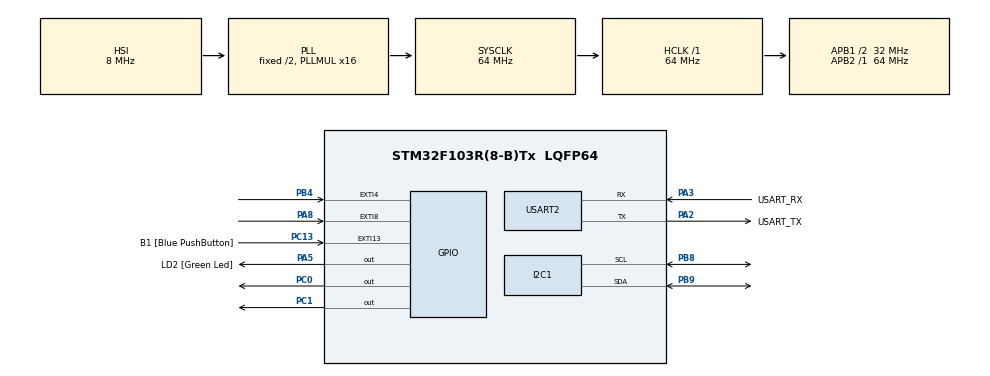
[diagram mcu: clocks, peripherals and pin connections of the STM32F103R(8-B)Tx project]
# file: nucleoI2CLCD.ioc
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Mcu.Family=STM32F1
Mcu.Name=STM32F103R(8-B)Tx
Mcu.Package=LQFP64
NVIC.EXTI15_10_IRQn=true\:0\:0\:false\:false\:true\:true\:true\:true
NVIC.EXTI4_IRQn=true\:0\:0\:false\:false\:true\:true\:true\:true
NVIC.EXTI9_5_IRQn=true\:0\:0\:false\:false\:true\:true\:true\:true
NVIC.PriorityGroup=NVIC_PRIORITYGROUP_4
NVIC.TIM2_IRQn=true\:0\:0\:false\:false\:true\:true\:true\:true
PA13.GPIO_Label=TMS
PA13.Mode=Serial_Wire
PA13.Signal=SYS_JTMS-SWDIO
PA14.GPIO_Label=TCK
PA14.Mode=Serial_Wire
PA14.Signal=SYS_JTCK-SWCLK
PA2.GPIO_Label=USART_TX
PA2.GPIO_Mode=GPIO_MODE_AF_PP
PA2.GPIO_PuPd=GPIO_NOPULL
PA2.GPIO_Speed=GPIO_SPEED_FREQ_LOW
PA2.Mode=Asynchronous
PA2.Signal=USART2_TX
PA3.GPIO_Label=USART_RX
PA3.GPIO_Mode=GPIO_MODE_AF_PP
PA3.GPIO_PuPd=GPIO_NOPULL
PA3.GPIO_Speed=GPIO_SPEED_FREQ_LOW
PA3.Mode=Asynchronous
PA3.Signal=USART2_RX
PA5.GPIO_Label=LD2 [Green Led]
PA5.GPIO_ModeDefaultOutputPP=GPIO_MODE_OUTPUT_PP
PA5.GPIO_PuPd=GPIO_NOPULL
PA5.GPIO_Speed=GPIO_SPEED_FREQ_LOW
PA5.Signal=GPIO_Output
PA8.Signal=GPXTI8
PB3.GPIO_Label=SWO
PB3.Signal=SYS_JTDO-TRACESWO
PB4.Signal=GPXTI4
PB8.Mode=I2C
PB8.Signal=I2C1_SCL
PB9.Mode=I2C
PB9.Signal=I2C1_SDA
PC0.Signal=GPIO_Output
PC1.Signal=GPIO_Output
PC13-TAMPER-RTC.GPIO_Label=B1 [Blue PushButton]
PC13-TAMPER-RTC.GPIO_PuPd=GPIO_NOPULL
PC13-TAMPER-RTC.Signal=GPXTI13
PC14-OSC32_IN.Mode=LSE-External-Oscillator
PC14-OSC32_IN.Signal=RCC_OSC32_IN
PC15-OSC32_OUT.Mode=LSE-External-Oscillator
PC15-OSC32_OUT.Signal=RCC_OSC32_OUT
PD0-OSC_IN.Mode=HSE-External-Clock-Source
PD0-OSC_IN.Signal=RCC_OSC_IN
PD1-OSC_OUT.Mode=HSE-External-Clock-Source
PD1-OSC_OUT.Signal=RCC_OSC_OUT
ProjectManager.HeapSize=0x200
ProjectManager.StackSize=0x400
ProjectManager.TargetToolchain=STM32CubeIDE
RCC.AHBFreq_Value=64000000
RCC.APB1CLKDivider=RCC_HCLK_DIV2
RCC.APB1Freq_Value=32000000
RCC.APB1TimFreq_Value=64000000
RCC.APB2Freq_Value=64000000
RCC.APB2TimFreq_Value=64000000
RCC.HCLKFreq_Value=64000000
RCC.PLLMUL=RCC_PLL_MUL16
RCC.RTCClockSelection=RCC_RTCCLKSOURCE_LSE
RCC.SYSCLKFreq_VALUE=64000000
RCC.SYSCLKSource=RCC_SYSCLKSOURCE_PLLCLK
RCC.USBFreq_Value=64000000
TIM2.Period=9999
TIM2.Prescaler=639
USART2.VirtualMode=VM_ASYNC
VP_TIM2_VS_ClockSourceINT.Mode=Internal
board=NUCLEO-F103RB

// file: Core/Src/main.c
/* USER CODE BEGIN Header */
/**
  ******************************************************************************
  * @file           : main.c
  * @brief          : Main program body
  ******************************************************************************
  * @attention
  *
  * Copyright (c) 2022 STMicroelectronics.
  * All rights reserved.
  *
  * This software is licensed under terms that can be found in the LICENSE file
  * in the root directory of this software component.
  * If no LICENSE file comes with this software, it is provided AS-IS.
  *
  ******************************************************************************
  */
/* USER CODE END Header */
#include "main.h"

/* USER CODE BEGIN Includes */
#include "i2c-lcd.h"
/* USER CODE END Includes */

 I2C_HandleTypeDef hi2c1;

TIM_HandleTypeDef htim2;

UART_HandleTypeDef huart2;

/* USER CODE BEGIN PV */
uint16_t cnt=56220;
int sec;
int min;
int hour;
char time[16];
int cntt = 0;
/* USER CODE END PV */

void SystemClock_Config(void);
static void MX_GPIO_Init(void);
static void MX_USART2_UART_Init(void);
static void MX_I2C1_Init(void);
static void MX_TIM2_Init(void);

/* USER CODE BEGIN 0 */
void HAL_TIM_PeriodElapsedCallback(TIM_HandleTypeDef *htim)
{
	cntt ++;
	if(cntt == 10) {
		cnt++;
		cntt = 0;
	}

}

void HAL_GPIO_EXTI_Callback(uint16_t GPIO_Pin)
{
	if (GPIO_Pin == GPIO_PIN_8)
	{
		HAL_TIM_Base_Stop_IT(&htim2);
		HAL_GPIO_TogglePin(GPIOC, GPIO_PIN_0);
	}

	else if(GPIO_Pin == GPIO_PIN_4)
	{
		HAL_TIM_Base_Start_IT(&htim2);
		HAL_GPIO_TogglePin(GPIOC, GPIO_PIN_1);
	}
	else if(GPIO_Pi == GPIO_PIN_5)
	{
		HAL_TIM_Base_Start_IT(&htim2);
		HAL_GPIO_TogglePin(GPIOC, GPIO_PIN_2);
	}
}
/* USER CODE END 0 */

int main(void)
{

  /* MCU Configuration--------------------------------------------------------*/

  /* Reset of all peripherals, Initializes the Flash interface and the Systick. */
  HAL_Init();

  /* Configure the system clock */
  SystemClock_Config();

  /* Initialize all configured peripherals */
  MX_GPIO_Init();
  MX_USART2_UART_Init();
  MX_I2C1_Init();
  MX_TIM2_Init();
  /* USER CODE BEGIN 2 */
  lcd_init();
  lcd_send_string("Hello");
  lcd_put_cur(1,0);
  lcd_send_string("Bye");
  HAL_TIM_Base_Start_IT(&htim2);

  /* USER CODE END 2 */

  /* Infinite loop */
  while (1)
  {

    /* USER CODE BEGIN 3 */
	  int sec = cnt % 60;
	  	int min = (cnt/60) % 60;
	  	int hour = (cnt/3600) % 24;
	  	if (sec<10)
	  	{
	  		if(hour<12) sprintf(time,"AM%d:%d:0%d",hour,min,sec);
	  		else sprintf(time,"PM%d:%d:0%d",hour-12,min,sec);
	  	}
	  	else
	  	{
	  		if(hour<12) sprintf(time,"AM%d:%d:%d",hour,min,sec);
	  		else sprintf(time,"PM%d:%d:%d",hour-12,min,sec);
	  	}

	  	lcd_put_cur(1,0);
	  	lcd_send_string("            ");
	  	lcd_put_cur(1,0);

	  	lcd_send_string(time);

	  	HAL_Delay(500);
  }
  /* USER CODE END 3 */
}

void SystemClock_Config(void)
{
  RCC_OscInitTypeDef RCC_OscInitStruct = {0};
  RCC_ClkInitTypeDef RCC_ClkInitStruct = {0};

  /** Initializes the RCC Oscillators according to the specified parameters
  * in the RCC_OscInitTypeDef structure.
  */
  RCC_OscInitStruct.OscillatorType = RCC_OSCILLATORTYPE_HSI;
  RCC_OscInitStruct.HSIState = RCC_HSI_ON;
  RCC_OscInitStruct.HSICalibrationValue = RCC_HSICALIBRATION_DEFAULT;
  RCC_OscInitStruct.PLL.PLLState = RCC_PLL_ON;
  RCC_OscInitStruct.PLL.PLLSource = RCC_PLLSOURCE_HSI_DIV2;
  RCC_OscInitStruct.PLL.PLLMUL = RCC_PLL_MUL16;
  if (HAL_RCC_OscConfig(&RCC_OscInitStruct) != HAL_OK)
  {
    Error_Handler();
  }

  /** Initializes the CPU, AHB and APB buses clocks
  */
  RCC_ClkInitStruct.ClockType = RCC_CLOCKTYPE_HCLK|RCC_CLOCKTYPE_SYSCLK
                              |RCC_CLOCKTYPE_PCLK1|RCC_CLOCKTYPE_PCLK2;
  RCC_ClkInitStruct.SYSCLKSource = RCC_SYSCLKSOURCE_PLLCLK;
  RCC_ClkInitStruct.AHBCLKDivider = RCC_SYSCLK_DIV1;
  RCC_ClkInitStruct.APB1CLKDivider = RCC_HCLK_DIV2;
  RCC_ClkInitStruct.APB2CLKDivider = RCC_HCLK_DIV1;

  if (HAL_RCC_ClockConfig(&RCC_ClkInitStruct, FLASH_LATENCY_2) != HAL_OK)
  {
    Error_Handler();
  }
}

static void MX_I2C1_Init(void)
{

  hi2c1.Instance = I2C1;
  hi2c1.Init.ClockSpeed = 100000;
  hi2c1.Init.DutyCycle = I2C_DUTYCYCLE_2;
  hi2c1.Init.OwnAddress1 = 0;
  hi2c1.Init.AddressingMode = I2C_ADDRESSINGMODE_7BIT;
  hi2c1.Init.DualAddressMode = I2C_DUALADDRESS_DISABLE;
  hi2c1.Init.OwnAddress2 = 0;
  hi2c1.Init.GeneralCallMode = I2C_GENERALCALL_DISABLE;
  hi2c1.Init.NoStretchMode = I2C_NOSTRETCH_DISABLE;
  if (HAL_I2C_Init(&hi2c1) != HAL_OK)
  {
    Error_Handler();
  }

}

static void MX_TIM2_Init(void)
{

  TIM_ClockConfigTypeDef sClockSourceConfig = {0};
  TIM_MasterConfigTypeDef sMasterConfig = {0};

  htim2.Instance = TIM2;
  htim2.Init.Prescaler = 639;
  htim2.Init.CounterMode = TIM_COUNTERMODE_UP;
  htim2.Init.Period = 9999;
  htim2.Init.ClockDivision = TIM_CLOCKDIVISION_DIV1;
  htim2.Init.AutoReloadPreload = TIM_AUTORELOAD_PRELOAD_DISABLE;
  if (HAL_TIM_Base_Init(&htim2) != HAL_OK)
  {
    Error_Handler();
  }
  sClockSourceConfig.ClockSource = TIM_CLOCKSOURCE_INTERNAL;
  if (HAL_TIM_ConfigClockSource(&htim2, &sClockSourceConfig) != HAL_OK)
  {
    Error_Handler();
  }
  sMasterConfig.MasterOutputTrigger = TIM_TRGO_RESET;
  sMasterConfig.MasterSlaveMode = TIM_MASTERSLAVEMODE_DISABLE;
  if (HAL_TIMEx_MasterConfigSynchronization(&htim2, &sMasterConfig) != HAL_OK)
  {
    Error_Handler();
  }

}

static void MX_USART2_UART_Init(void)
{

  huart2.Instance = USART2;
  huart2.Init.BaudRate = 115200;
  huart2.Init.WordLength = UART_WORDLENGTH_8B;
  huart2.Init.StopBits = UART_STOPBITS_1;
  huart2.Init.Parity = UART_PARITY_NONE;
  huart2.Init.Mode = UART_MODE_TX_RX;
  huart2.Init.HwFlowCtl = UART_HWCONTROL_NONE;
  huart2.Init.OverSampling = UART_OVERSAMPLING_16;
  if (HAL_UART_Init(&huart2) != HAL_OK)
  {
    Error_Handler();
  }

}

static void MX_GPIO_Init(void)
{
  GPIO_InitTypeDef GPIO_InitStruct = {0};

  /* GPIO Ports Clock Enable */
  __HAL_RCC_GPIOC_CLK_ENABLE();
  __HAL_RCC_GPIOD_CLK_ENABLE();
  __HAL_RCC_GPIOA_CLK_ENABLE();
  __HAL_RCC_GPIOB_CLK_ENABLE();

  /*Configure GPIO pin Output Level */
  HAL_GPIO_WritePin(GPIOC, GPIO_PIN_0|GPIO_PIN_1, GPIO_PIN_RESET);

  /*Configure GPIO pin Output Level */
  HAL_GPIO_WritePin(LD2_GPIO_Port, LD2_Pin, GPIO_PIN_RESET);

  /*Configure GPIO pin : B1_Pin */
  GPIO_InitStruct.Pin = B1_Pin;
  GPIO_InitStruct.Mode = GPIO_MODE_IT_RISING;
  GPIO_InitStruct.Pull = GPIO_NOPULL;
  HAL_GPIO_Init(B1_GPIO_Port, &GPIO_InitStruct);

  /*Configure GPIO pins : PC0 PC1 */
  GPIO_InitStruct.Pin = GPIO_PIN_0|GPIO_PIN_1;
  GPIO_InitStruct.Mode = GPIO_MODE_OUTPUT_PP;
  GPIO_InitStruct.Pull = GPIO_NOPULL;
  GPIO_InitStruct.Speed = GPIO_SPEED_FREQ_LOW;
  HAL_GPIO_Init(GPIOC, &GPIO_InitStruct);

  /*Configure GPIO pin : LD2_Pin */
  GPIO_InitStruct.Pin = LD2_Pin;
  GPIO_InitStruct.Mode = GPIO_MODE_OUTPUT_PP;
  GPIO_InitStruct.Pull = GPIO_NOPULL;
  GPIO_InitStruct.Speed = GPIO_SPEED_FREQ_LOW;
  HAL_GPIO_Init(LD2_GPIO_Port, &GPIO_InitStruct);

  /*Configure GPIO pin : PA8 */
  GPIO_InitStruct.Pin = GPIO_PIN_8;
  GPIO_InitStruct.Mode = GPIO_MODE_IT_RISING;
  GPIO_InitStruct.Pull = GPIO_NOPULL;
  HAL_GPIO_Init(GPIOA, &GPIO_InitStruct);

  /*Configure GPIO pin : PB4 */
  GPIO_InitStruct.Pin = GPIO_PIN_4;
  GPIO_InitStruct.Mode = GPIO_MODE_IT_RISING;
  GPIO_InitStruct.Pull = GPIO_NOPULL;
  HAL_GPIO_Init(GPIOB, &GPIO_InitStruct);

  /* EXTI interrupt init*/
  HAL_NVIC_SetPriority(EXTI4_IRQn, 0, 0);
  HAL_NVIC_EnableIRQ(EXTI4_IRQn);

  HAL_NVIC_SetPriority(EXTI9_5_IRQn, 0, 0);
  HAL_NVIC_EnableIRQ(EXTI9_5_IRQn);

  HAL_NVIC_SetPriority(EXTI15_10_IRQn, 0, 0);
  HAL_NVIC_EnableIRQ(EXTI15_10_IRQn);

}

void Error_Handler(void)
{
  __disable_irq();
  while (1)
  {
  }
}
